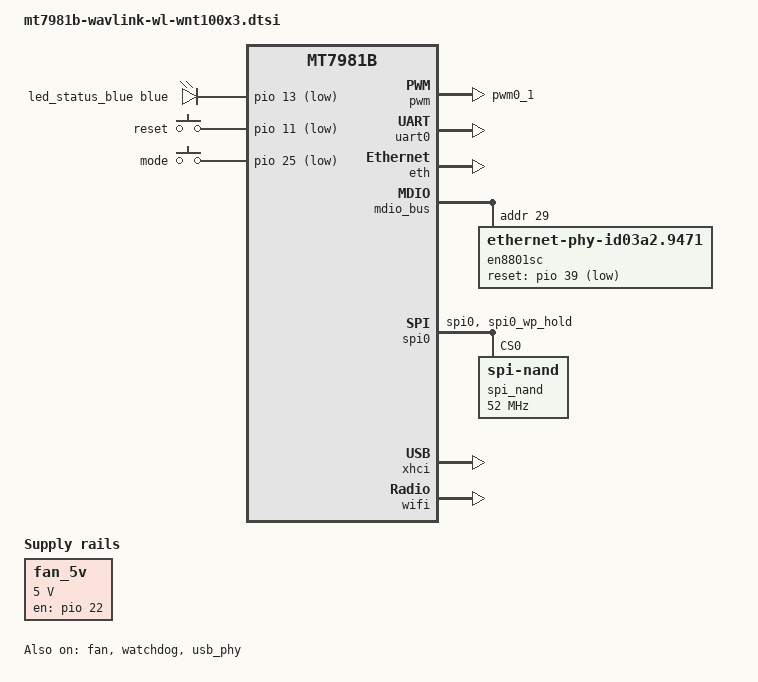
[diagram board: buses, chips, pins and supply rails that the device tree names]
// SPDX-License-Identifier: GPL-2.0-only OR MIT

/dts-v1/;

#include "mt7981b.dtsi"

/ {
	aliases {
		label-mac-device = &wifi;
		led-boot = &led_status_blue;
		led-failsafe = &led_status_blue;
		led-running = &led_status_blue;
		led-upgrade = &led_status_blue;
		serial0 = &uart0;
	};

	chosen: chosen {
		stdout-path = "serial0:115200n8";
	};

	leds {
		compatible = "gpio-leds";

		led_status_blue: led-0 {
			function = LED_FUNCTION_STATUS;
			color = <LED_COLOR_ID_BLUE>;
			gpios = <&pio 13 GPIO_ACTIVE_LOW>;
		};
	};

	gpio-keys {
		compatible = "gpio-keys";

		button-0 {
			label = "reset";
			linux,code = <KEY_RESTART>;
			gpios = <&pio 11 GPIO_ACTIVE_LOW>;
		};

		button-1 {
			label = "mode";
			linux,code = <BTN_0>;
			linux,input-type = <EV_SW>;
			gpios = <&pio 25 GPIO_ACTIVE_LOW>;
			debounce-interval = <60>;
		};
	};

	fan_5v: regulator-fan-5v {
		compatible = "regulator-fixed";
		regulator-name = "fan";
		regulator-min-microvolt = <5000000>;
		regulator-max-microvolt = <5000000>;
		gpios = <&pio 22 GPIO_ACTIVE_HIGH>;
		enable-active-high;
		regulator-boot-on;
	};
};

&pwm {
	pinctrl-names = "default";
	pinctrl-0 = <&pwm_pins>;
	status = "okay";
};

&fan {
	pwms = <&pwm 0 40000 0>;
	fan-supply = <&fan_5v>;
	status = "okay";
};

&uart0 {
	status = "okay";
};

&watchdog {
	status = "okay";
};

&eth {
	status = "okay";
	pinctrl-names = "default";
	pinctrl-0 = <&mdio_pins>;

	gmac0: mac@0 {
		compatible = "mediatek,eth-mac";
		reg = <0>;
		phy-mode = "sgmii";
		phy-handle = <&en8801sc>;
		nvmem-cells = <&macaddr_lan>;
		nvmem-cell-names = "mac-address";
		managed = "in-band-status";
	};

	gmac1: mac@1 {
		compatible = "mediatek,eth-mac";
		reg = <1>;
		phy-mode = "gmii";
		phy-handle = <&int_gbe_phy>;
		nvmem-cells = <&macaddr_wan>;
		nvmem-cell-names = "mac-address";
	};
};

&mdio_bus {
	en8801sc: ethernet-phy@29 {
		compatible = "ethernet-phy-id03a2.9471";
		phy-mode = "sgmii";
		reg = <29>;
		reset-gpios = <&pio 39 GPIO_ACTIVE_LOW>;
		reset-assert-us = <10000>;
		reset-deassert-us = <20000>;
	};
};

&spi0 {
	pinctrl-names = "default";
	pinctrl-0 = <&spi0_flash_pins>;
	status = "okay";

	spi_nand: flash@0 {
		#address-cells = <1>;
		#size-cells = <1>;
		compatible = "spi-nand";
		reg = <0>;
		spi-max-frequency = <52000000>;
		spi-tx-bus-width = <4>;
		spi-rx-bus-width = <4>;

		spi-cal-enable;
		spi-cal-mode = "read-data";
		spi-cal-datalen = <7>;
		spi-cal-data = /bits/ 8 <0x53 0x50 0x49 0x4e 0x41 0x4e 0x44>;
		spi-cal-addrlen = <5>;
		spi-cal-addr = /bits/ 32 <0x0 0x0 0x0 0x0 0x0>;
	};
};

&pio {
	pwm_pins: pwm0-pins {
		mux {
			function = "pwm";
			groups = "pwm0_1";
		};
	};

	spi0_flash_pins: spi0-pins {
		mux {
			function = "spi";
			groups = "spi0", "spi0_wp_hold";
		};
	};
};

&usb_phy {
	status = "okay";
};

&xhci {
	status = "okay";
};

&wifi {
	status = "okay";
	nvmem-cells = <&eeprom_factory>;
	nvmem-cell-names = "eeprom";
};
